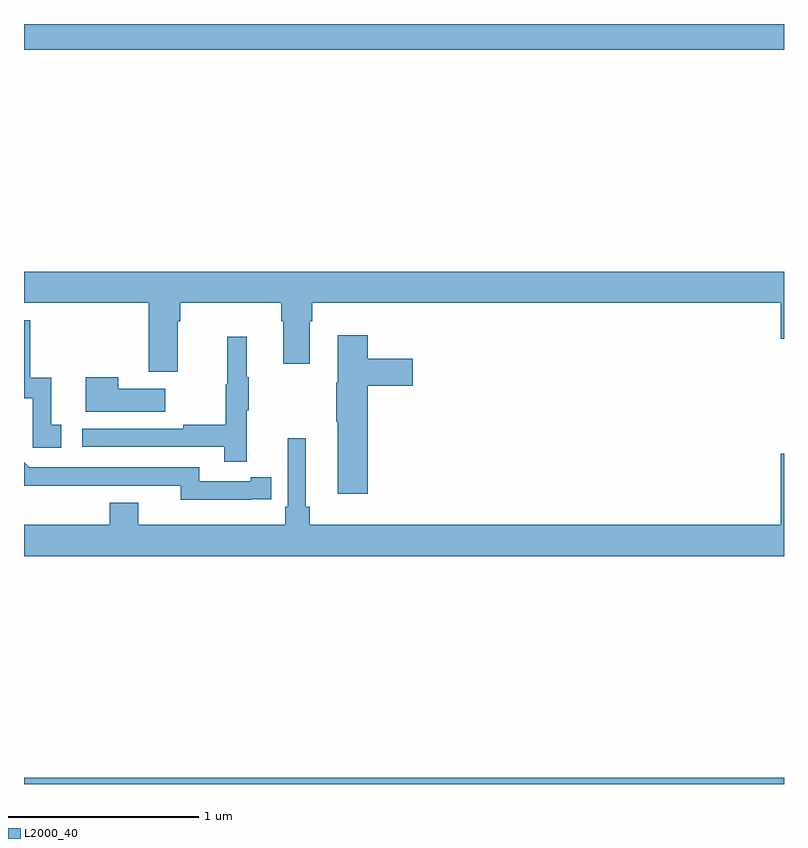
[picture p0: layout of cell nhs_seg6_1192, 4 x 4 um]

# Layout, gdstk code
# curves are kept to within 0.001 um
import gdstk
lib = gdstk.Library(unit=1e-6, precision=1e-09)
def R(c, l, rs):  # rectangles x0, y0, x1, y1
    for r in rs: c.add(gdstk.rectangle(r[:2], r[2:], *l))
def P(c, l, *ps):  # polygons
    for p in ps: c.add(gdstk.Polygon(p, *l))
L2000_40 = (2000, 40)

nhs_seg6_1192 = lib.new_cell('nhs_seg6_1192')
R(nhs_seg6_1192, L2000_40, [(185,915.5,189,915.532), (185,919.364,189,919.5)])
P(nhs_seg6_1192, L2000_40, [(185.809,917.936),(185.822,917.936),(185.822,918.032),(186.353,918.032),(186.353,917.936),(186.365,917.936),(186.365,917.712),(186.505,917.712),(186.505,917.936),(186.518,917.936),(186.518,918.032),(188.984,918.032),(188.984,917.844),(189,917.844),(189,918.196),(185,918.196),(185,918.032),(185.657,918.032),(185.657,917.67),(185.809,917.67)],
  [(185.197,917.391),(185.144,917.391),(185.144,917.638),(185.033,917.638),(185.033,917.94),(185,917.94),(185,917.529),(185.046,917.529),(185.046,917.271),(185.197,917.271)],
  [(186.809,917.597),(187.045,917.597),(187.045,917.739),(186.809,917.739),(186.809,917.863),(186.65,917.863),(186.65,917.613),(186.643,917.613),(186.643,917.407),(186.65,917.407),(186.65,917.028),(186.809,917.028)],
  [(186.173,917.467),(186.184,917.467),(186.184,917.641),(186.173,917.641),(186.173,917.854),(186.07,917.854),(186.07,917.604),(186.063,917.604),(186.063,917.39),(185.839,917.39),(185.839,917.37),(185.307,917.37),(185.307,917.274),(186.055,917.274),(186.055,917.196),(186.173,917.196)],
  [(185.743,917.581),(185.495,917.581),(185.495,917.641),(185.324,917.641),(185.324,917.459),(185.743,917.459)],
  [(189,917.239),(188.984,917.239),(188.984,916.864),(186.503,916.864),(186.503,916.96),(186.484,916.96),(186.484,917.32),(186.387,917.32),(186.387,916.96),(186.374,916.96),(186.374,916.864),(185.602,916.864),(185.602,916.981),(185.45,916.981),(185.45,916.864),(185,916.864),(185,916.7),(189,916.7)],
  [(186.194,916.998),(186.302,916.998),(186.302,917.114),(186.194,917.114),(186.194,917.094),(185.922,917.094),(185.922,917.166),(185.028,917.166),(185,917.194),(185,917.069),(185.826,917.07),(185.826,916.997)])

lib.write_gds('nhs_seg6_1192.gds')
